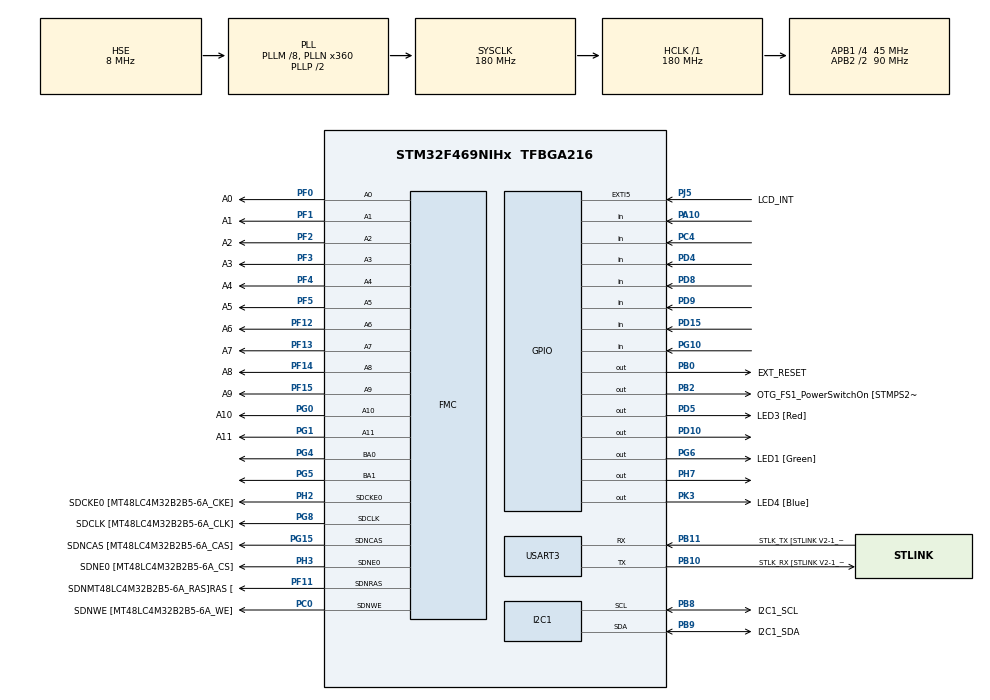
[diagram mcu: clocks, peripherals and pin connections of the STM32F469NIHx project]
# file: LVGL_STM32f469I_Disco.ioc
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DMA2D.ColorMode=DMA2D_OUTPUT_RGB565
DSIHOST.BTA_FlowControl=__NULL
DSIHOST.ClockLaneHS2LPTime=35
DSIHOST.ClockLaneLP2HSTime=35
DSIHOST.DataLaneHS2LPTime=35
DSIHOST.DataLaneLP2HSTime=35
DSIHOST.LPCommandEnable=DSI_LP_COMMAND_ENABLE
DSIHOST.LPHorizontalBackPorchEnable=DSI_LP_HBP_ENABLE
DSIHOST.LPHorizontalFrontPorchEnable=DSI_LP_HFP_ENABLE
DSIHOST.LPLargestPacketSize=16
DSIHOST.LPVerticalActiveEnable=DSI_LP_VACT_ENABLE
DSIHOST.LPVerticalBackPorchEnable=DSI_LP_VBP_ENABLE
DSIHOST.LPVerticalFrontPorchEnable=DSI_LP_VFP_ENABLE
DSIHOST.LPVerticalSyncActiveEnable=DSI_LP_VSYNC_ENABLE
DSIHOST.Mode=DSI_VID_MODE_BURST
DSIHOST.NumberOfLanes=DSI_TWO_DATA_LANES
DSIHOST.PacketSize=800
DSIHOST.StopWaitTime=10
DSIHOST_CKN.GPIO_Label=DSI_CK_N
DSIHOST_CKN.Mode=DSIHost_Video
DSIHOST_CKN.Signal=DSIHOST_CKN
DSIHOST_CKP.GPIO_Label=DSI_CK_P
DSIHOST_CKP.Mode=DSIHost_Video
DSIHOST_CKP.Signal=DSIHOST_CKP
DSIHOST_D0N.GPIO_Label=DSI_D0_N
DSIHOST_D0N.Mode=DSIHost_Video
DSIHOST_D0N.Signal=DSIHOST_D0N
DSIHOST_D0P.GPIO_Label=DSI_D0_P
DSIHOST_D0P.Mode=DSIHost_Video
DSIHOST_D0P.Signal=DSIHOST_D0P
DSIHOST_D1N.GPIO_Label=DSI_D1_N
DSIHOST_D1N.Mode=DSIHost_Video
DSIHOST_D1N.Signal=DSIHOST_D1N
DSIHOST_D1P.GPIO_Label=DSI_D1_P
DSIHOST_D1P.Mode=DSIHost_Video
DSIHOST_D1P.Signal=DSIHOST_D1P
Dma.MEMTOMEM.0.Direction=DMA_MEMORY_TO_MEMORY
Dma.MEMTOMEM.0.FIFOMode=DMA_FIFOMODE_ENABLE
Dma.MEMTOMEM.0.FIFOThreshold=DMA_FIFO_THRESHOLD_FULL
Dma.MEMTOMEM.0.Instance=DMA2_Stream0
Dma.MEMTOMEM.0.MemBurst=DMA_MBURST_SINGLE
Dma.MEMTOMEM.0.MemDataAlignment=DMA_MDATAALIGN_WORD
Dma.MEMTOMEM.0.MemInc=DMA_MINC_ENABLE
Dma.MEMTOMEM.0.Mode=DMA_NORMAL
Dma.MEMTOMEM.0.PeriphBurst=DMA_PBURST_SINGLE
Dma.MEMTOMEM.0.PeriphDataAlignment=DMA_PDATAALIGN_WORD
Dma.MEMTOMEM.0.PeriphInc=DMA_PINC_ENABLE
Dma.MEMTOMEM.0.Priority=DMA_PRIORITY_LOW
Dma.Request0=MEMTOMEM
FMC.CASLatency1=FMC_SDRAM_CAS_LATENCY_3
FMC.ExitSelfRefreshDelay1=7
FMC.LoadToActiveDelay1=2
FMC.RCDDelay1=2
FMC.RPDelay1=2
FMC.ReadBurst1=FMC_SDRAM_RBURST_ENABLE
FMC.RowCycleDelay1=7
FMC.SDClockPeriod1=FMC_SDRAM_CLOCK_PERIOD_2
FMC.SelfRefreshTime1=4
FMC.WriteRecoveryTime1=3
LTDC.ActiveW=800
LTDC.Alpha_L0=255
LTDC.BlendingFactor1_L0=LTDC_BLENDING_FACTOR1_PAxCA
LTDC.BlendingFactor2_L0=LTDC_BLENDING_FACTOR2_PAxCA
LTDC.FBStartAdress_L0=0xC0000000
LTDC.HBP=34
LTDC.HFP=34
LTDC.HSPolarity=LTDC_HSPOLARITY_AH
LTDC.HSync=2
LTDC.ImageHeight_L0=480
LTDC.ImageWidth_L0=800
LTDC.Layers=0
LTDC.PixelFormat_L0=LTDC_PIXEL_FORMAT_RGB565
LTDC.VBP=150
LTDC.VFP=150
LTDC.VSPolarity=LTDC_VSPOLARITY_AH
LTDC.VSync=120
LTDC.WindowX1_L0=800
LTDC.WindowY1_L0=480
Mcu.Family=STM32F4
Mcu.Name=STM32F469NIHx
Mcu.Package=TFBGA216
NVIC.DMA2D_IRQn=true\:0\:0\:false\:false\:true\:true\:true\:true
NVIC.DMA2_Stream0_IRQn=true\:0\:0\:false\:false\:true\:true\:true\:true
NVIC.DSI_IRQn=true\:0\:0\:false\:false\:true\:true\:true\:true
NVIC.LTDC_IRQn=true\:0\:0\:false\:false\:true\:true\:true\:true
NVIC.PriorityGroup=NVIC_PRIORITYGROUP_4
PA0/WKUP.GPIO_Label=WAKEUP [B2]
PA0/WKUP.Mode=SYS_WakeUp0
PA0/WKUP.Signal=SYS_WKUP
PA10.Signal=GPIO_Input
PA13.GPIO_Label=SWDIO
PA13.Mode=Serial_Wire
PA13.Signal=SYS_JTMS-SWDIO
PA14.GPIO_Label=SWCLK
PA14.Mode=Serial_Wire
PA14.Signal=SYS_JTCK-SWCLK
PB0.GPIO_Label=EXT_RESET
PB0.GPIO_ModeDefaultOutputPP=GPIO_MODE_OUTPUT_PP
PB0.GPIO_PuPd=GPIO_NOPULL
PB0.GPIO_Speed=GPIO_SPEED_FREQ_LOW
PB0.Signal=GPIO_Output
PB10.GPIO_Label=STLK_RX [STLINK V2-1_U2_RX]
PB10.GPIO_Mode=GPIO_MODE_AF_PP
PB10.GPIO_PuPd=GPIO_PULLUP
PB10.GPIO_Speed=GPIO_SPEED_FREQ_VERY_HIGH
PB10.Mode=Asynchronous
PB10.Signal=USART3_TX
PB11.GPIO_Label=STLK_TX [STLINK V2-1_U2_TX]
PB11.GPIO_Mode=GPIO_MODE_AF_PP
PB11.GPIO_PuPd=GPIO_PULLUP
PB11.GPIO_Speed=GPIO_SPEED_FREQ_VERY_HIGH
PB11.Mode=Asynchronous
PB11.Signal=USART3_RX
PB2/BOOT1.GPIO_Label=OTG_FS1_PowerSwitchOn [STMPS2151STR_En]
PB2/BOOT1.GPIO_ModeDefaultOutputPP=GPIO_MODE_OUTPUT_PP
PB2/BOOT1.GPIO_PuPd=GPIO_NOPULL
PB2/BOOT1.GPIO_Speed=GPIO_SPEED_FREQ_LOW
PB2/BOOT1.Signal=GPIO_Output
PB8.GPIO_Label=I2C1_SCL
PB8.GPIO_Mode=GPIO_MODE_AF_OD
PB8.GPIO_Pu=GPIO_PULLUP
PB8.GPIO_Speed=GPIO_SPEED_FREQ_VERY_HIGH
PB8.Mode=I2C
PB8.Signal=I2C1_SCL
PB9.GPIO_Label=I2C1_SDA
PB9.GPIO_Mode=GPIO_MODE_AF_OD
PB9.GPIO_Pu=GPIO_PULLUP
PB9.GPIO_Speed=GPIO_SPEED_FREQ_VERY_HIGH
PB9.Mode=I2C
PB9.Signal=I2C1_SDA
PC0.GPIO_Label=SDNWE [MT48LC4M32B2B5-6A_WE]
PC0.GPIO_Mode=GPIO_MODE_AF_PP
PC0.GPIO_PuPd=GPIO_NOPULL
PC0.GPIO_Speed_High_Default=GPIO_SPEED_FREQ_VERY_HIGH
PC0.Signal=FMC_SDNWE
PC14/OSC32_IN.Mode=LSE-External-Oscillator
PC14/OSC32_IN.Signal=RCC_OSC32_IN
PC15/OSC32_OUT.Mode=LSE-External-Oscillator
PC15/OSC32_OUT.Signal=RCC_OSC32_OUT
PC4.Signal=GPIO_Input
PD0.GPIO_Label=D2
PD0.GPIO_Mode=GPIO_MODE_AF_PP
PD0.GPIO_PuPd=GPIO_NOPULL
PD0.GPIO_Speed_High_Default=GPIO_SPEED_FREQ_VERY_HIGH
PD0.Signal=FMC_D2_DA2
PD1.GPIO_Label=D3
PD1.GPIO_Mode=GPIO_MODE_AF_PP
PD1.GPIO_PuPd=GPIO_NOPULL
PD1.GPIO_Speed_High_Default=GPIO_SPEED_FREQ_VERY_HIGH
PD1.Signal=FMC_D3_DA3
PD10.Signal=GPIO_Output
PD14.GPIO_Label=D0
PD14.GPIO_Mode=GPIO_MODE_AF_PP
PD14.GPIO_PuPd=GPIO_NOPULL
PD14.GPIO_Speed_High_Default=GPIO_SPEED_FREQ_VERY_HIGH
PD14.Signal=FMC_D0_DA0
PD15.Signal=GPIO_Input
PD4.Signal=GPIO_Input
PD5.GPIO_Label=LED3 [Red]
PD5.GPIO_ModeDefaultOutputPP=GPIO_MODE_OUTPUT_OD
PD5.GPIO_PuPd=GPIO_NOPULL
PD5.GPIO_Speed=GPIO_SPEED_FREQ_LOW
PD5.Signal=GPIO_Output
PD8.Signal=GPIO_Input
PD9.Signal=GPIO_Input
PE0.GPIO_Label=FMC_NBL0 [ MT48LC4M32B2B5-6A_DQM0]
PE0.GPIO_Mode=GPIO_MODE_AF_PP
PE0.GPIO_PuPd=GPIO_NOPULL
PE0.GPIO_Speed_High_Default=GPIO_SPEED_FREQ_VERY_HIGH
PE0.Signal=FMC_NBL0
PE1.GPIO_Label=FMC_NBL1 [ MT48LC4M32B2B5-6A_DQM1]
PE1.GPIO_Mode=GPIO_MODE_AF_PP
PE1.GPIO_PuPd=GPIO_NOPULL
PE1.GPIO_Speed_High_Default=GPIO_SPEED_FREQ_VERY_HIGH
PE1.Signal=FMC_NBL1
PE10.GPIO_Label=D7
PE10.GPIO_Mode=GPIO_MODE_AF_PP
PE10.GPIO_PuPd=GPIO_NOPULL
PE10.GPIO_Speed_High_Default=GPIO_SPEED_FREQ_VERY_HIGH
PE10.Signal=FMC_D7_DA7
PE11.GPIO_Label=D8
PE11.GPIO_Mode=GPIO_MODE_AF_PP
PE11.GPIO_PuPd=GPIO_NOPULL
PE11.GPIO_Speed_High_Default=GPIO_SPEED_FREQ_VERY_HIGH
PE11.Signal=FMC_D8_DA8
PE12.GPIO_Label=D9
PE12.GPIO_Mode=GPIO_MODE_AF_PP
PE12.GPIO_PuPd=GPIO_NOPULL
PE12.GPIO_Speed_High_Default=GPIO_SPEED_FREQ_VERY_HIGH
PE12.Signal=FMC_D9_DA9
PE13.GPIO_Label=D10
PE13.GPIO_Mode=GPIO_MODE_AF_PP
PE13.GPIO_PuPd=GPIO_NOPULL
PE13.GPIO_Speed_High_Default=GPIO_SPEED_FREQ_VERY_HIGH
PE13.Signal=FMC_D10_DA10
PE14.GPIO_Label=D11
PE14.GPIO_Mode=GPIO_MODE_AF_PP
PE14.GPIO_PuPd=GPIO_NOPULL
PE14.GPIO_Speed_High_Default=GPIO_SPEED_FREQ_VERY_HIGH
PE14.Signal=FMC_D11_DA11
PE15.GPIO_Label=D12
PE15.GPIO_Mode=GPIO_MODE_AF_PP
PE15.GPIO_PuPd=GPIO_NOPULL
PE15.GPIO_Speed_High_Default=GPIO_SPEED_FREQ_VERY_HIGH
PE15.Signal=FMC_D12_DA12
PE7.GPIO_Label=D4
PE7.GPIO_Mode=GPIO_MODE_AF_PP
PE7.GPIO_PuPd=GPIO_NOPULL
PE7.GPIO_Speed_High_Default=GPIO_SPEED_FREQ_VERY_HIGH
PE7.Signal=FMC_D4_DA4
PE8.GPIO_Label=D5
PE8.GPIO_Mode=GPIO_MODE_AF_PP
PE8.GPIO_PuPd=GPIO_NOPULL
PE8.GPIO_Speed_High_Default=GPIO_SPEED_FREQ_VERY_HIGH
PE8.Signal=FMC_D5_DA5
PE9.GPIO_Label=D6
PE9.GPIO_Mode=GPIO_MODE_AF_PP
PE9.GPIO_PuPd=GPIO_NOPULL
PE9.GPIO_Speed_High_Default=GPIO_SPEED_FREQ_VERY_HIGH
PE9.Signal=FMC_D6_DA6
PF0.GPIO_Label=A0
PF0.GPIO_Mode=GPIO_MODE_AF_PP
PF0.GPIO_PuPd=GPIO_NOPULL
PF0.GPIO_Speed_High_Default=GPIO_SPEED_FREQ_VERY_HIGH
PF0.Signal=FMC_A0
PF1.GPIO_Label=A1
PF1.GPIO_Mode=GPIO_MODE_AF_PP
PF1.GPIO_PuPd=GPIO_NOPULL
PF1.GPIO_Speed_High_Default=GPIO_SPEED_FREQ_VERY_HIGH
PF1.Signal=FMC_A1
PF11.GPIO_Label=SDNMT48LC4M32B2B5-6A_RAS]RAS [
PF11.GPIO_Mode=GPIO_MODE_AF_PP
PF11.GPIO_PuPd=GPIO_NOPULL
PF11.GPIO_Speed_High_Default=GPIO_SPEED_FREQ_VERY_HIGH
PF11.Signal=FMC_SDNRAS
PF12.GPIO_Label=A6
PF12.GPIO_Mode=GPIO_MODE_AF_PP
PF12.GPIO_PuPd=GPIO_NOPULL
PF12.GPIO_Speed_High_Default=GPIO_SPEED_FREQ_VERY_HIGH
PF12.Signal=FMC_A6
PF13.GPIO_Label=A7
PF13.GPIO_Mode=GPIO_MODE_AF_PP
PF13.GPIO_PuPd=GPIO_NOPULL
PF13.GPIO_Speed_High_Default=GPIO_SPEED_FREQ_VERY_HIGH
PF13.Signal=FMC_A7
PF14.GPIO_Label=A8
PF14.GPIO_Mode=GPIO_MODE_AF_PP
PF14.GPIO_PuPd=GPIO_NOPULL
PF14.GPIO_Speed_High_Default=GPIO_SPEED_FREQ_VERY_HIGH
PF14.Signal=FMC_A8
PF15.GPIO_Label=A9
PF15.GPIO_Mode=GPIO_MODE_AF_PP
PF15.GPIO_PuPd=GPIO_NOPULL
PF15.GPIO_Speed_High_Default=GPIO_SPEED_FREQ_VERY_HIGH
PF15.Signal=FMC_A9
PF2.GPIO_Label=A2
PF2.GPIO_Mode=GPIO_MODE_AF_PP
PF2.GPIO_PuPd=GPIO_NOPULL
PF2.GPIO_Speed_High_Default=GPIO_SPEED_FREQ_VERY_HIGH
PF2.Signal=FMC_A2
PF3.GPIO_Label=A3
PF3.GPIO_Mode=GPIO_MODE_AF_PP
PF3.GPIO_PuPd=GPIO_NOPULL
PF3.GPIO_Speed_High_Default=GPIO_SPEED_FREQ_VERY_HIGH
PF3.Signal=FMC_A3
PF4.GPIO_Label=A4
PF4.GPIO_Mode=GPIO_MODE_AF_PP
PF4.GPIO_PuPd=GPIO_NOPULL
PF4.GPIO_Speed_High_Default=GPIO_SPEED_FREQ_VERY_HIGH
PF4.Signal=FMC_A4
PF5.GPIO_Label=A5
PF5.GPIO_Mode=GPIO_MODE_AF_PP
PF5.GPIO_PuPd=GPIO_NOPULL
PF5.GPIO_Speed_High_Default=GPIO_SPEED_FREQ_VERY_HIGH
PF5.Signal=FMC_A5
PG0.GPIO_Label=A10
PG0.GPIO_Mode=GPIO_MODE_AF_PP
PG0.GPIO_PuPd=GPIO_NOPULL
PG0.GPIO_Speed_High_Default=GPIO_SPEED_FREQ_VERY_HIGH
PG0.Signal=FMC_A10
PG1.GPIO_Label=A11
PG1.GPIO_Mode=GPIO_MODE_AF_PP
PG1.GPIO_PuPd=GPIO_NOPULL
PG1.GPIO_Speed_High_Default=GPIO_SPEED_FREQ_VERY_HIGH
PG1.Signal=FMC_A11
PG10.Signal=GPIO_Input
PG15.GPIO_Label=SDNCAS [MT48LC4M32B2B5-6A_CAS]
PG15.GPIO_Mode=GPIO_MODE_AF_PP
PG15.GPIO_PuPd=GPIO_NOPULL
PG15.GPIO_Speed_High_Default=GPIO_SPEED_FREQ_VERY_HIGH
PG15.Signal=FMC_SDNCAS
PG4.Signal=FMC_A14_BA0
PG5.Signal=FMC_A15_BA1
PG6.GPIO_Label=LED1 [Green]
PG6.GPIO_ModeDefaultOutputPP=GPIO_MODE_OUTPUT_OD
PG6.GPIO_PuPd=GPIO_NOPULL
PG6.GPIO_Speed=GPIO_SPEED_FREQ_LOW
PG6.Signal=GPIO_Output
PG8.GPIO_Label=SDCLK [MT48LC4M32B2B5-6A_CLK]
PG8.GPIO_Mode=GPIO_MODE_AF_PP
PG8.GPIO_PuPd=GPIO_NOPULL
PG8.GPIO_Speed_High_Default=GPIO_SPEED_FREQ_VERY_HIGH
PG8.Signal=FMC_SDCLK
PH0/OSC_IN.Mode=HSE-External-Oscillator
PH0/OSC_IN.Signal=RCC_OSC_IN
PH1/OSC_OUT.Mode=HSE-External-Oscillator
PH1/OSC_OUT.Signal=RCC_OSC_OUT
PH10.GPIO_Label=D18
PH10.GPIO_Mode=GPIO_MODE_AF_PP
PH10.GPIO_PuPd=GPIO_NOPULL
PH10.GPIO_Speed_High_Default=GPIO_SPEED_FREQ_VERY_HIGH
PH10.Signal=FMC_D18
PH11.GPIO_Label=D19
PH11.GPIO_Mode=GPIO_MODE_AF_PP
PH11.GPIO_PuPd=GPIO_NOPULL
PH11.GPIO_Speed_High_Default=GPIO_SPEED_FREQ_VERY_HIGH
PH11.Signal=FMC_D19
PH12.GPIO_Label=D20
PH12.GPIO_Mode=GPIO_MODE_AF_PP
PH12.GPIO_PuPd=GPIO_NOPULL
PH12.GPIO_Speed_High_Default=GPIO_SPEED_FREQ_VERY_HIGH
PH12.Signal=FMC_D20
PH13.GPIO_Label=D21
PH13.GPIO_Mode=GPIO_MODE_AF_PP
PH13.GPIO_PuPd=GPIO_NOPULL
PH13.GPIO_Speed_High_Default=GPIO_SPEED_FREQ_VERY_HIGH
PH13.Signal=FMC_D21
PH14.GPIO_Label=D22
PH14.GPIO_Mode=GPIO_MODE_AF_PP
PH14.GPIO_PuPd=GPIO_NOPULL
PH14.GPIO_Speed_High_Default=GPIO_SPEED_FREQ_VERY_HIGH
PH14.Signal=FMC_D22
PH15.GPIO_Label=D23
PH15.GPIO_Mode=GPIO_MODE_AF_PP
PH15.GPIO_PuPd=GPIO_NOPULL
PH15.GPIO_Speed_High_Default=GPIO_SPEED_FREQ_VERY_HIGH
PH15.Signal=FMC_D23
PH2.GPIO_Label=SDCKE0 [MT48LC4M32B2B5-6A_CKE]
PH2.GPIO_Mode=GPIO_MODE_AF_PP
PH2.GPIO_PuPd=GPIO_NOPULL
PH2.GPIO_Speed_High_Default=GPIO_SPEED_FREQ_VERY_HIGH
PH2.Mode=SdramChipSelect1_1
PH2.Signal=FMC_SDCKE0
PH3.GPIO_Label=SDNE0 [MT48LC4M32B2B5-6A_CS]
PH3.GPIO_Mode=GPIO_MODE_AF_PP
PH3.GPIO_PuPd=GPIO_NOPULL
PH3.GPIO_Speed_High_Default=GPIO_SPEED_FREQ_VERY_HIGH
PH3.Mode=SdramChipSelect1_1
PH3.Signal=FMC_SDNE0
PH7.Signal=GPIO_Output
PH8.GPIO_Label=D16
PH8.GPIO_Mode=GPIO_MODE_AF_PP
PH8.GPIO_PuPd=GPIO_NOPULL
PH8.GPIO_Speed_High_Default=GPIO_SPEED_FREQ_VERY_HIGH
PH8.Signal=FMC_D16
PH9.GPIO_Label=D17
PH9.GPIO_Mode=GPIO_MODE_AF_PP
PH9.GPIO_PuPd=GPIO_NOPULL
PH9.GPIO_Speed_High_Default=GPIO_SPEED_FREQ_VERY_HIGH
PH9.Signal=FMC_D17
PI0.GPIO_Label=D24
PI0.GPIO_Mode=GPIO_MODE_AF_PP
PI0.GPIO_PuPd=GPIO_NOPULL
PI0.GPIO_Speed_High_Default=GPIO_SPEED_FREQ_VERY_HIGH
PI0.Signal=FMC_D24
PI1.GPIO_Label=D25
PI1.GPIO_Mode=GPIO_MODE_AF_PP
PI1.GPIO_PuPd=GPIO_NOPULL
PI1.GPIO_Speed_High_Default=GPIO_SPEED_FREQ_VERY_HIGH
PI1.Signal=FMC_D25
PI10.GPIO_Label=D31
PI10.GPIO_Mode=GPIO_MODE_AF_PP
PI10.GPIO_PuPd=GPIO_NOPULL
PI10.GPIO_Speed_High_Default=GPIO_SPEED_FREQ_VERY_HIGH
PI10.Signal=FMC_D31
PI2.GPIO_Label=D26
PI2.GPIO_Mode=GPIO_MODE_AF_PP
PI2.GPIO_PuPd=GPIO_NOPULL
PI2.GPIO_Speed_High_Default=GPIO_SPEED_FREQ_VERY_HIGH
PI2.Signal=FMC_D26
PI3.GPIO_Label=D27
PI3.GPIO_Mode=GPIO_MODE_AF_PP
PI3.GPIO_PuPd=GPIO_NOPULL
PI3.GPIO_Speed_High_Default=GPIO_SPEED_FREQ_VERY_HIGH
PI3.Signal=FMC_D27
PI4.GPIO_Label=FMC_NBL2 [MT48LC4M32B2B5-6A_DQM2]
PI4.GPIO_Mode=GPIO_MODE_AF_PP
PI4.GPIO_PuPd=GPIO_NOPULL
PI4.GPIO_Speed_High_Default=GPIO_SPEED_FREQ_VERY_HIGH
PI4.Signal=FMC_NBL2
PI5.GPIO_Label=FMC_NBL3 [MT48LC4M32B2B5-6A_DQM3]
PI5.GPIO_Mode=GPIO_MODE_AF_PP
PI5.GPIO_PuPd=GPIO_NOPULL
PI5.GPIO_Speed_High_Default=GPIO_SPEED_FREQ_VERY_HIGH
PI5.Signal=FMC_NBL3
PI6.GPIO_Label=D28
PI6.GPIO_Mode=GPIO_MODE_AF_PP
PI6.GPIO_PuPd=GPIO_NOPULL
PI6.GPIO_Speed_High_Default=GPIO_SPEED_FREQ_VERY_HIGH
PI6.Signal=FMC_D28
PI7.GPIO_Label=D29
PI7.GPIO_Mode=GPIO_MODE_AF_PP
PI7.GPIO_PuPd=GPIO_NOPULL
PI7.GPIO_Speed_High_Default=GPIO_SPEED_FREQ_VERY_HIGH
PI7.Signal=FMC_D29
PI9.GPIO_Label=D30
PI9.GPIO_Mode=GPIO_MODE_AF_PP
PI9.GPIO_PuPd=GPIO_NOPULL
PI9.GPIO_Speed_High_Default=GPIO_SPEED_FREQ_VERY_HIGH
PI9.Signal=FMC_D30
PJ2.GPIO_Label=DSI_TE
PJ2.GPIO_Mode=GPIO_MODE_AF_PP
PJ2.GPIO_PuPd=GPIO_NOPULL
PJ2.GPIO_Speed=GPIO_SPEED_FREQ_VERY_HIGH
PJ2.Signal=DSIHOST_TE
PJ5.GPIO_Label=LCD_INT
PJ5.GPIO_ModeDefaultEXTI=GPIO_MODE_IT_RISING
PJ5.GPIO_PuPd=GPIO_NOPULL
PJ5.Signal=GPXTI5
PK3.GPIO_Label=LED4 [Blue]
PK3.GPIO_ModeDefaultOutputPP=GPIO_MODE_OUTPUT_OD
PK3.GPIO_PuPd=GPIO_NOPULL
PK3.GPIO_Speed=GPIO_SPEED_FREQ_LOW
PK3.Signal=GPIO_Output
ProjectManager.HeapSize=0x200
ProjectManager.StackSize=0x400
ProjectManager.TargetToolchain=CMake
RCC.AHBFreq_Value=180000000
RCC.APB1CLKDivider=RCC_HCLK_DIV4
RCC.APB1Freq_Value=45000000
RCC.APB1TimFreq_Value=90000000
RCC.APB2CLKDivider=RCC_HCLK_DIV2
RCC.APB2Freq_Value=90000000
RCC.APB2TimFreq_Value=180000000
RCC.CortexFreq_Value=180000000
RCC.HCLKFreq_Value=180000000
RCC.HSE_VALUE=8000000
RCC.PLLDSIIDF=DSI_PLL_IN_DIV2
RCC.PLLDSINDIV=125
RCC.PLLM=8
RCC.PLLN=360
RCC.PLLQ=6
RCC.PLLR=6
RCC.PLLSAIN=384
RCC.PLLSAIP=RCC_PLLSAIP_DIV6
RCC.PLLSAIQ=2
RCC.PLLSAIR=7
RCC.PLLSourceVirtual=RCC_PLLSOURCE_HSE
RCC.SYSCLKFreq_VALUE=180000000
RCC.SYSCLKSource=RCC_SYSCLKSOURCE_PLLCLK
RCC.USBCLockSelection=RCC_CLK48CLKSOURCE_PLLSAIP
RCC.USBFreq_Value=64000000
RCC.VCOOutputFreq_Value=360000000
SH.FMC_A0.0=FMC_A0,12b-sda1
SH.FMC_A1.0=FMC_A1,12b-sda1
SH.FMC_A10.0=FMC_A10,12b-sda1
SH.FMC_A11.0=FMC_A11,12b-sda1
SH.FMC_A14_BA0.0=FMC_BA0,FourSdramBanks1
SH.FMC_A15_BA1.0=FMC_BA1,FourSdramBanks1
SH.FMC_A2.0=FMC_A2,12b-sda1
SH.FMC_A3.0=FMC_A3,12b-sda1
SH.FMC_A4.0=FMC_A4,12b-sda1
SH.FMC_A5.0=FMC_A5,12b-sda1
SH.FMC_A6.0=FMC_A6,12b-sda1
SH.FMC_A7.0=FMC_A7,12b-sda1
SH.FMC_A8.0=FMC_A8,12b-sda1
SH.FMC_A9.0=FMC_A9,12b-sda1
SH.FMC_D0_DA0.0=FMC_D0
SH.FMC_D10_DA10.0=FMC_D10
SH.FMC_D11_DA11.0=FMC_D11
SH.FMC_D12_DA12.0=FMC_D12
SH.FMC_D16.0=FMC_D16
SH.FMC_D17.0=FMC_D17
SH.FMC_D18.0=FMC_D18
SH.FMC_D19.0=FMC_D19
SH.FMC_D20.0=FMC_D20
SH.FMC_D21.0=FMC_D21
SH.FMC_D22.0=FMC_D22
SH.FMC_D23.0=FMC_D23
SH.FMC_D24.0=FMC_D24
SH.FMC_D25.0=FMC_D25
SH.FMC_D26.0=FMC_D26
SH.FMC_D27.0=FMC_D27
SH.FMC_D28.0=FMC_D28
SH.FMC_D29.0=FMC_D29
SH.FMC_D2_DA2.0=FMC_D2
SH.FMC_D30.0=FMC_D30
SH.FMC_D31.0=FMC_D31
SH.FMC_D3_DA3.0=FMC_D3
SH.FMC_D4_DA4.0=FMC_D4
SH.FMC_D5_DA5.0=FMC_D5
SH.FMC_D6_DA6.0=FMC_D6
SH.FMC_D7_DA7.0=FMC_D7
SH.FMC_D8_DA8.0=FMC_D8
SH.FMC_D9_DA9.0=FMC_D9
SH.FMC_NBL0.0=FMC_NBL0
SH.FMC_NBL1.0=FMC_NBL1
SH.FMC_NBL2.0=FMC_NBL2
SH.FMC_NBL3.0=FMC_NBL3
SH.FMC_SDCLK.0=FMC_SDCLK,12b-sda1
SH.FMC_SDNCAS.0=FMC_SDNCAS,12b-sda1
SH.FMC_SDNRAS.0=FMC_SDNRAS,12b-sda1
SH.FMC_SDNWE.0=FMC_SDNWE,12b-sda1
USART3.VirtualMode=VM_ASYNC
VP_DMA2D_VS_DMA2D.Mode=DMA2D_Activate
VP_LTDC_DSIMode.Mode=RGB888
board=STM32F469I-DISCO

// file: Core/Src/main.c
/* USER CODE BEGIN Header */
/**
  ******************************************************************************
  * @file           : main.c
  * @brief          : Main program body
  ******************************************************************************
  * @attention
  *
  * Copyright (c) 2025 STMicroelectronics.
  * All rights reserved.
  *
  * This software is licensed under terms that can be found in the LICENSE file
  * in the root directory of this software component.
  * If no LICENSE file comes with this software, it is provided AS-IS.
  *
  ******************************************************************************
  */
/* USER CODE END Header */
#include "main.h"

/* USER CODE BEGIN Includes */
#include <stdlib.h>
#include <stdio.h>
#include <lvgl.h>
#include "./demos/lv_demos.h"
#include <screen_driver.h>
#include <touch_sensor_driver.h>
//#include <etl/include/etl/debounce.h>
//#include "../../Drivers/etl/include/etl/debounce.h"
//#include <etl/debounce.h>

/* USER CODE END Includes */

/* USER CODE BEGIN PD */
#define USE_FULL_ASSERT
/**
  * @brief  FMC SDRAM Mode definition register defines
  *
  * @brief  defines copied from the STM32F469I-Disco Board support package
  */
#define SDRAM_MODEREG_BURST_LENGTH_1             ((uint16_t)0x0000)
#define SDRAM_MODEREG_BURST_LENGTH_2             ((uint16_t)0x0001)
#define SDRAM_MODEREG_BURST_LENGTH_4             ((uint16_t)0x0002)
#define SDRAM_MODEREG_BURST_LENGTH_8             ((uint16_t)0x0004)
#define SDRAM_MODEREG_BURST_TYPE_SEQUENTIAL      ((uint16_t)0x0000)
#define SDRAM_MODEREG_BURST_TYPE_INTERLEAVED     ((uint16_t)0x0008)
#define SDRAM_MODEREG_CAS_LATENCY_2              ((uint16_t)0x0020)
#define SDRAM_MODEREG_CAS_LATENCY_3              ((uint16_t)0x0030)
#define SDRAM_MODEREG_OPERATING_MODE_STANDARD    ((uint16_t)0x0000)
#define SDRAM_MODEREG_WRITEBURST_MODE_PROGRAMMED ((uint16_t)0x0000)
#define SDRAM_MODEREG_WRITEBURST_MODE_SINGLE     ((uint16_t)0x0200)

/**
  * @brief  SDRAM refresh counter (90 MHz SD clock)
  *
  * @brief  defines copied from the STM32F469I-Disco Board support package
  */
#define REFRESH_COUNT       ((uint32_t)0x0569)
#define SDRAM_TIMEOUT       ((uint32_t)0xFFFF)

/* USER CODE END PD */

DMA2D_HandleTypeDef hdma2d;

DSI_HandleTypeDef hdsi;

I2C_HandleTypeDef hi2c1;

LTDC_HandleTypeDef hltdc;

UART_HandleTypeDef huart3;

DMA_HandleTypeDef hdma_memtomem_dma2_stream0;
SDRAM_HandleTypeDef hsdram1;

void SystemClock_Config(void);
static void MX_GPIO_Init(void);
static void MX_DMA_Init(void);
static void MX_DMA2D_Init(void);
static void MX_DSIHOST_DSI_Init(void);
static void MX_FMC_Init(void);
static void MX_I2C1_Init(void);
static void MX_LTDC_Init(void);
static void MX_USART3_UART_Init(void);

int main(void)
{

  /* MCU Configuration--------------------------------------------------------*/

  /* Reset of all peripherals, Initializes the Flash interface and the Systick. */
  HAL_Init();

  /* Configure the system clock */
  SystemClock_Config();

  /* Initialize all configured peripherals */
  MX_GPIO_Init();
  MX_DMA_Init();
  MX_DMA2D_Init();
  MX_DSIHOST_DSI_Init();
  MX_FMC_Init();
  MX_I2C1_Init();
  MX_LTDC_Init();
  MX_USART3_UART_Init();
  /* USER CODE BEGIN 2 */

  lv_init();

  screen_driver_init();
  touch_sensor_driver_init();

  //lv_demo_benchmark();
  lv_obj_t * label1 = lv_label_create(lv_scr_act());

  //HAL_GPIO_WritePin(GPIOD, GPIO_PIN_10, GPIO_PIN_SET);
  /* USER CODE END 2 */

  /* Infinite loop */
  /* USER CODE BEGIN WHILE */
  char text[2] = {'?', '\0'};
  lv_label_set_text(label1, text);
  lv_obj_center(label1);

  while (1)
  {
	  text[0] = (char) ((int) HAL_GPIO_ReadPin(GPIOC, GPIO_PIN_3) + 48);
	  lv_label_set_text(label1, text);

	  HAL_Delay(5);
	  lv_timer_handler();

	  //char* text[1];

	  //char x = (char) ((int) HAL_GPIO_ReadPin(GPIOD, GPIO_PIN_8) + 48);
	  //text[0] = (char) (x + 48);

    /* USER CODE END WHILE */

  }
}

void SystemClock_Config(void)
{
  RCC_OscInitTypeDef RCC_OscInitStruct = {0};
  RCC_ClkInitTypeDef RCC_ClkInitStruct = {0};

  /** Configure the main internal regulator output voltage
  */
  __HAL_RCC_PWR_CLK_ENABLE();
  __HAL_PWR_VOLTAGESCALING_CONFIG(PWR_REGULATOR_VOLTAGE_SCALE1);

  /** Initializes the RCC Oscillators according to the specified parameters
  * in the RCC_OscInitTypeDef structure.
  */
  RCC_OscInitStruct.OscillatorType = RCC_OSCILLATORTYPE_HSE;
  RCC_OscInitStruct.HSEState = RCC_HSE_ON;
  RCC_OscInitStruct.PLL.PLLState = RCC_PLL_ON;
  RCC_OscInitStruct.PLL.PLLSource = RCC_PLLSOURCE_HSE;
  RCC_OscInitStruct.PLL.PLLM = 8;
  RCC_OscInitStruct.PLL.PLLN = 360;
  RCC_OscInitStruct.PLL.PLLP = RCC_PLLP_DIV2;
  RCC_OscInitStruct.PLL.PLLQ = 6;
  RCC_OscInitStruct.PLL.PLLR = 6;
  if (HAL_RCC_OscConfig(&RCC_OscInitStruct) != HAL_OK)
  {
    Error_Handler();
  }

  /** Activate the Over-Drive mode
  */
  if (HAL_PWREx_EnableOverDrive() != HAL_OK)
  {
    Error_Handler();
  }

  /** Initializes the CPU, AHB and APB buses clocks
  */
  RCC_ClkInitStruct.ClockType = RCC_CLOCKTYPE_HCLK|RCC_CLOCKTYPE_SYSCLK
                              |RCC_CLOCKTYPE_PCLK1|RCC_CLOCKTYPE_PCLK2;
  RCC_ClkInitStruct.SYSCLKSource = RCC_SYSCLKSOURCE_PLLCLK;
  RCC_ClkInitStruct.AHBCLKDivider = RCC_SYSCLK_DIV1;
  RCC_ClkInitStruct.APB1CLKDivider = RCC_HCLK_DIV4;
  RCC_ClkInitStruct.APB2CLKDivider = RCC_HCLK_DIV2;

  if (HAL_RCC_ClockConfig(&RCC_ClkInitStruct, FLASH_LATENCY_5) != HAL_OK)
  {
    Error_Handler();
  }
}

static void MX_DMA2D_Init(void)
{

  hdma2d.Instance = DMA2D;
  hdma2d.Init.Mode = DMA2D_M2M;
  hdma2d.Init.ColorMode = DMA2D_OUTPUT_RGB565;
  hdma2d.Init.OutputOffset = 0;
  hdma2d.LayerCfg[1].InputOffset = 0;
  hdma2d.LayerCfg[1].InputColorMode = DMA2D_INPUT_RGB565;
  hdma2d.LayerCfg[1].AlphaMode = DMA2D_NO_MODIF_ALPHA;
  hdma2d.LayerCfg[1].InputAlpha = 0;
  if (HAL_DMA2D_Init(&hdma2d) != HAL_OK)
  {
    Error_Handler();
  }
  if (HAL_DMA2D_ConfigLayer(&hdma2d, 1) != HAL_OK)
  {
    Error_Handler();
  }

}

static void MX_DSIHOST_DSI_Init(void)
{

  DSI_PLLInitTypeDef PLLInit = {0};
  DSI_HOST_TimeoutTypeDef HostTimeouts = {0};
  DSI_PHY_TimerTypeDef PhyTimings = {0};
  DSI_VidCfgTypeDef VidCfg = {0};

  hdsi.Instance = DSI;
  hdsi.Init.AutomaticClockLaneControl = DSI_AUTO_CLK_LANE_CTRL_DISABLE;
  hdsi.Init.TXEscapeCkdiv = 4;
  hdsi.Init.NumberOfLanes = DSI_TWO_DATA_LANES;
  PLLInit.PLLNDIV = 125;
  PLLInit.PLLIDF = DSI_PLL_IN_DIV2;
  PLLInit.PLLODF = DSI_PLL_OUT_DIV1;
  if (HAL_DSI_Init(&hdsi, &PLLInit) != HAL_OK)
  {
    Error_Handler();
  }
  HostTimeouts.TimeoutCkdiv = 1;
  HostTimeouts.HighSpeedTransmissionTimeout = 0;
  HostTimeouts.LowPowerReceptionTimeout = 0;
  HostTimeouts.HighSpeedReadTimeout = 0;
  HostTimeouts.LowPowerReadTimeout = 0;
  HostTimeouts.HighSpeedWriteTimeout = 0;
  HostTimeouts.HighSpeedWritePrespMode = DSI_HS_PM_DISABLE;
  HostTimeouts.LowPowerWriteTimeout = 0;
  HostTimeouts.BTATimeout = 0;
  if (HAL_DSI_ConfigHostTimeouts(&hdsi, &HostTimeouts) != HAL_OK)
  {
    Error_Handler();
  }
  PhyTimings.ClockLaneHS2LPTime = 35;
  PhyTimings.ClockLaneLP2HSTime = 35;
  PhyTimings.DataLaneHS2LPTime = 35;
  PhyTimings.DataLaneLP2HSTime = 35;
  PhyTimings.DataLaneMaxReadTime = 0;
  PhyTimings.StopWaitTime = 10;
  if (HAL_DSI_ConfigPhyTimer(&hdsi, &PhyTimings) != HAL_OK)
  {
    Error_Handler();
  }
  if (HAL_DSI_SetLowPowerRXFilter(&hdsi, 10000) != HAL_OK)
  {
    Error_Handler();
  }
  if (HAL_DSI_ConfigErrorMonitor(&hdsi, HAL_DSI_ERROR_NONE) != HAL_OK)
  {
    Error_Handler();
  }
  VidCfg.VirtualChannelID = 0;
  VidCfg.ColorCoding = DSI_RGB888;
  VidCfg.LooselyPacked = DSI_LOOSELY_PACKED_DISABLE;
  VidCfg.Mode = DSI_VID_MODE_BURST;
  VidCfg.PacketSize = 800;
  VidCfg.NumberOfChunks = 0;
  VidCfg.NullPacketSize = 0;
  VidCfg.HSPolarity = DSI_HSYNC_ACTIVE_HIGH;
  VidCfg.VSPolarity = DSI_VSYNC_ACTIVE_HIGH;
  VidCfg.DEPolarity = DSI_DATA_ENABLE_ACTIVE_HIGH;
  VidCfg.HorizontalSyncActive = 5;
  VidCfg.HorizontalBackPorch = 77;
  VidCfg.HorizontalLine = 1982;
  VidCfg.VerticalSyncActive = 120;
  VidCfg.VerticalBackPorch = 150;
  VidCfg.VerticalFrontPorch = 150;
  VidCfg.VerticalActive = 480;
  VidCfg.LPCommandEnable = DSI_LP_COMMAND_ENABLE;
  VidCfg.LPLargestPacketSize = 16;
  VidCfg.LPVACTLargestPacketSize = 0;
  VidCfg.LPHorizontalFrontPorchEnable = DSI_LP_HFP_ENABLE;
  VidCfg.LPHorizontalBackPorchEnable = DSI_LP_HBP_ENABLE;
  VidCfg.LPVerticalActiveEnable = DSI_LP_VACT_ENABLE;
  VidCfg.LPVerticalFrontPorchEnable = DSI_LP_VFP_ENABLE;
  VidCfg.LPVerticalBackPorchEnable = DSI_LP_VBP_ENABLE;
  VidCfg.LPVerticalSyncActiveEnable = DSI_LP_VSYNC_ENABLE;
  VidCfg.FrameBTAAcknowledgeEnable = DSI_FBTAA_DISABLE;
  if (HAL_DSI_ConfigVideoMode(&hdsi, &VidCfg) != HAL_OK)
  {
    Error_Handler();
  }
  if (HAL_DSI_SetGenericVCID(&hdsi, 0) != HAL_OK)
  {
    Error_Handler();
  }

}

static void MX_I2C1_Init(void)
{

  hi2c1.Instance = I2C1;
  hi2c1.Init.ClockSpeed = 100000;
  hi2c1.Init.DutyCycle = I2C_DUTYCYCLE_2;
  hi2c1.Init.OwnAddress1 = 0;
  hi2c1.Init.AddressingMode = I2C_ADDRESSINGMODE_7BIT;
  hi2c1.Init.DualAddressMode = I2C_DUALADDRESS_DISABLE;
  hi2c1.Init.OwnAddress2 = 0;
  hi2c1.Init.GeneralCallMode = I2C_GENERALCALL_DISABLE;
  hi2c1.Init.NoStretchMode = I2C_NOSTRETCH_DISABLE;
  if (HAL_I2C_Init(&hi2c1) != HAL_OK)
  {
    Error_Handler();
  }

}

static void MX_LTDC_Init(void)
{

  LTDC_LayerCfgTypeDef pLayerCfg = {0};

  hltdc.Instance = LTDC;
  hltdc.Init.HSPolarity = LTDC_HSPOLARITY_AH;
  hltdc.Init.VSPolarity = LTDC_VSPOLARITY_AH;
  hltdc.Init.DEPolarity = LTDC_DEPOLARITY_AL;
  hltdc.Init.PCPolarity = LTDC_PCPOLARITY_IPC;
  hltdc.Init.HorizontalSync = 1;
  hltdc.Init.VerticalSync = 119;
  hltdc.Init.AccumulatedHBP = 35;
  hltdc.Init.AccumulatedVBP = 269;
  hltdc.Init.AccumulatedActiveW = 835;
  hltdc.Init.AccumulatedActiveH = 749;
  hltdc.Init.TotalWidth = 869;
  hltdc.Init.TotalHeigh = 899;
  hltdc.Init.Backcolor.Blue = 0;
  hltdc.Init.Backcolor.Green = 0;
  hltdc.Init.Backcolor.Red = 0;
  if (HAL_LTDC_Init(&hltdc) != HAL_OK)
  {
    Error_Handler();
  }
  pLayerCfg.WindowX0 = 0;
  pLayerCfg.WindowX1 = 800;
  pLayerCfg.WindowY0 = 0;
  pLayerCfg.WindowY1 = 480;
  pLayerCfg.PixelFormat = LTDC_PIXEL_FORMAT_RGB565;
  pLayerCfg.Alpha = 255;
  pLayerCfg.Alpha0 = 0;
  pLayerCfg.BlendingFactor1 = LTDC_BLENDING_FACTOR1_PAxCA;
  pLayerCfg.BlendingFactor2 = LTDC_BLENDING_FACTOR2_PAxCA;
  pLayerCfg.FBStartAdress = 0xC0000000;
  pLayerCfg.ImageWidth = 800;
  pLayerCfg.ImageHeight = 480;
  pLayerCfg.Backcolor.Blue = 0;
  pLayerCfg.Backcolor.Green = 0;
  pLayerCfg.Backcolor.Red = 0;
  if (HAL_LTDC_ConfigLayer(&hltdc, &pLayerCfg, 0) != HAL_OK)
  {
    Error_Handler();
  }

}

static void MX_USART3_UART_Init(void)
{

  huart3.Instance = USART3;
  huart3.Init.BaudRate = 115200;
  huart3.Init.WordLength = UART_WORDLENGTH_8B;
  huart3.Init.StopBits = UART_STOPBITS_1;
  huart3.Init.Parity = UART_PARITY_NONE;
  huart3.Init.Mode = UART_MODE_TX_RX;
  huart3.Init.HwFlowCtl = UART_HWCONTROL_NONE;
  huart3.Init.OverSampling = UART_OVERSAMPLING_16;
  if (HAL_UART_Init(&huart3) != HAL_OK)
  {
    Error_Handler();
  }

}

static void MX_DMA_Init(void)
{

  /* DMA controller clock enable */
  __HAL_RCC_DMA2_CLK_ENABLE();

  /* Configure DMA request hdma_memtomem_dma2_stream0 on DMA2_Stream0 */
  hdma_memtomem_dma2_stream0.Instance = DMA2_Stream0;
  hdma_memtomem_dma2_stream0.Init.Channel = DMA_CHANNEL_0;
  hdma_memtomem_dma2_stream0.Init.Direction = DMA_MEMORY_TO_MEMORY;
  hdma_memtomem_dma2_stream0.Init.PeriphInc = DMA_PINC_ENABLE;
  hdma_memtomem_dma2_stream0.Init.MemInc = DMA_MINC_ENABLE;
  hdma_memtomem_dma2_stream0.Init.PeriphDataAlignment = DMA_PDATAALIGN_WORD;
  hdma_memtomem_dma2_stream0.Init.MemDataAlignment = DMA_MDATAALIGN_WORD;
  hdma_memtomem_dma2_stream0.Init.Mode = DMA_NORMAL;
  hdma_memtomem_dma2_stream0.Init.Priority = DMA_PRIORITY_LOW;
  hdma_memtomem_dma2_stream0.Init.FIFOMode = DMA_FIFOMODE_ENABLE;
  hdma_memtomem_dma2_stream0.Init.FIFOThreshold = DMA_FIFO_THRESHOLD_FULL;
  hdma_memtomem_dma2_stream0.Init.MemBurst = DMA_MBURST_SINGLE;
  hdma_memtomem_dma2_stream0.Init.PeriphBurst = DMA_PBURST_SINGLE;
  if (HAL_DMA_Init(&hdma_memtomem_dma2_stream0) != HAL_OK)
  {
    Error_Handler( );
  }

  /* DMA interrupt init */
  /* DMA2_Stream0_IRQn interrupt configuration */
  HAL_NVIC_SetPriority(DMA2_Stream0_IRQn, 0, 0);
  HAL_NVIC_EnableIRQ(DMA2_Stream0_IRQn);

}

/* FMC initialization function */
static void MX_FMC_Init(void)
{

  /* USER CODE BEGIN FMC_Init 0 */
  static FMC_SDRAM_CommandTypeDef Command;
  /* USER CODE END FMC_Init 0 */

  FMC_SDRAM_TimingTypeDef SdramTiming = {0};

  /** Perform the SDRAM1 memory initialization sequence
  */
  hsdram1.Instance = FMC_SDRAM_DEVICE;
  /* hsdram1.Init */
  hsdram1.Init.SDBank = FMC_SDRAM_BANK1;
  hsdram1.Init.ColumnBitsNumber = FMC_SDRAM_COLUMN_BITS_NUM_8;
  hsdram1.Init.RowBitsNumber = FMC_SDRAM_ROW_BITS_NUM_12;
  hsdram1.Init.MemoryDataWidth = FMC_SDRAM_MEM_BUS_WIDTH_16;
  hsdram1.Init.InternalBankNumber = FMC_SDRAM_INTERN_BANKS_NUM_4;
  hsdram1.Init.CASLatency = FMC_SDRAM_CAS_LATENCY_3;
  hsdram1.Init.WriteProtection = FMC_SDRAM_WRITE_PROTECTION_DISABLE;
  hsdram1.Init.SDClockPeriod = FMC_SDRAM_CLOCK_PERIOD_2;
  hsdram1.Init.ReadBurst = FMC_SDRAM_RBURST_ENABLE;
  hsdram1.Init.ReadPipeDelay = FMC_SDRAM_RPIPE_DELAY_0;
  /* SdramTiming */
  SdramTiming.LoadToActiveDelay = 2;
  SdramTiming.ExitSelfRefreshDelay = 7;
  SdramTiming.SelfRefreshTime = 4;
  SdramTiming.RowCycleDelay = 7;
  SdramTiming.WriteRecoveryTime = 3;
  SdramTiming.RPDelay = 2;
  SdramTiming.RCDDelay = 2;

  if (HAL_SDRAM_Init(&hsdram1, &SdramTiming) != HAL_OK)
  {
    Error_Handler( );
  }

  /* USER CODE BEGIN FMC_Init 2 */

    /*
     * The following code is copied from the STM32F469I-Disco Board Support Package
     */
    __IO uint32_t tmpmrd = 0;

    /* Step 1: Configure a clock configuration enable command */
    Command.CommandMode            = FMC_SDRAM_CMD_CLK_ENABLE;
    Command.CommandTarget          = FMC_SDRAM_CMD_TARGET_BANK1;
    Command.AutoRefreshNumber      = 1;
    Command.ModeRegisterDefinition = 0;

    /* Send the command */
    HAL_SDRAM_SendCommand(&hsdram1, &Command, SDRAM_TIMEOUT);

    /* Step 2: Insert 100 us minimum delay */
    /* Inserted delay is equal to 1 ms due to systick time base unit (ms) */
    HAL_Delay(1);

    /* Step 3: Configure a PALL (precharge all) command */
    Command.CommandMode            = FMC_SDRAM_CMD_PALL;
    Command.CommandTarget          = FMC_SDRAM_CMD_TARGET_BANK1;
    Command.AutoRefreshNumber      = 1;
    Command.ModeRegisterDefinition = 0;

    /* Send the command */
    HAL_SDRAM_SendCommand(&hsdram1, &Command, SDRAM_TIMEOUT);

    /* Step 4: Configure an Auto Refresh command */
    Command.CommandMode            = FMC_SDRAM_CMD_AUTOREFRESH_MODE;
    Command.CommandTarget          = FMC_SDRAM_CMD_TARGET_BANK1;
    Command.AutoRefreshNumber      = 8;
    Command.ModeRegisterDefinition = 0;

    /* Send the command */
    HAL_SDRAM_SendCommand(&hsdram1, &Command, SDRAM_TIMEOUT);

    /* Step 5: Program the external memory mode register */
    tmpmrd = (uint32_t)SDRAM_MODEREG_BURST_LENGTH_1          |\
                       SDRAM_MODEREG_BURST_TYPE_SEQUENTIAL   |\
                       SDRAM_MODEREG_CAS_LATENCY_3           |\
                       SDRAM_MODEREG_OPERATING_MODE_STANDARD |\
                       SDRAM_MODEREG_WRITEBURST_MODE_SINGLE;

    Command.CommandMode            = FMC_SDRAM_CMD_LOAD_MODE;
    Command.CommandTarget          = FMC_SDRAM_CMD_TARGET_BANK1;
    Command.AutoRefreshNumber      = 1;
    Command.ModeRegisterDefinition = tmpmrd;

    /* Send the command */
    HAL_SDRAM_SendCommand(&hsdram1, &Command, SDRAM_TIMEOUT);

    /* Step 6: Set the refresh rate counter */
    /* Set the device refresh rate */
    HAL_SDRAM_ProgramRefreshRate(&hsdram1, REFRESH_COUNT);

  /* USER CODE END FMC_Init 2 */
}

static void MX_GPIO_Init(void)
{
  GPIO_InitTypeDef GPIO_InitStruct = {0};

  /* GPIO Ports Clock Enable */
  __HAL_RCC_GPIOE_CLK_ENABLE();
  __HAL_RCC_GPIOB_CLK_ENABLE();
  __HAL_RCC_GPIOA_CLK_ENABLE();
  __HAL_RCC_GPIOG_CLK_ENABLE();
  __HAL_RCC_GPIOD_CLK_ENABLE();
  __HAL_RCC_GPIOI_CLK_ENABLE();
  __HAL_RCC_GPIOF_CLK_ENABLE();
  __HAL_RCC_GPIOK_CLK_ENABLE();
  __HAL_RCC_GPIOH_CLK_ENABLE();
  __HAL_RCC_GPIOC_CLK_ENABLE();
  __HAL_RCC_GPIOJ_CLK_ENABLE();

  /*Configure GPIO pin Output Level */
  HAL_GPIO_WritePin(GPIOD, LED3_Pin|GPIO_PIN_10, GPIO_PIN_RESET);

  /*Configure GPIO pin Output Level */
  HAL_GPIO_WritePin(LED4_GPIO_Port, LED4_Pin, GPIO_PIN_RESET);

  /*Configure GPIO pin Output Level */
  HAL_GPIO_WritePin(LED1_GPIO_Port, LED1_Pin, GPIO_PIN_RESET);

  /*Configure GPIO pin Output Level */
  HAL_GPIO_WritePin(GPIOB, OTG_FS1_PowerSwitchOn_Pin|EXT_RESET_Pin, GPIO_PIN_RESET);

  /*Configure GPIO pin Output Level */
  HAL_GPIO_WritePin(GPIOH, GPIO_PIN_7, GPIO_PIN_RESET);

  /*Configure GPIO pin : PG10 */
  GPIO_InitStruct.Pin = GPIO_PIN_10;
  GPIO_InitStruct.Mode = GPIO_MODE_INPUT;
  GPIO_InitStruct.Pull = GPIO_NOPULL;
  HAL_GPIO_Init(GPIOG, &GPIO_InitStruct);

  /*Configure GPIO pin : LED3_Pin */
  GPIO_InitStruct.Pin = LED3_Pin;
  GPIO_InitStruct.Mode = GPIO_MODE_OUTPUT_OD;
  GPIO_InitStruct.Pull = GPIO_NOPULL;
  GPIO_InitStruct.Speed = GPIO_SPEED_FREQ_LOW;
  HAL_GPIO_Init(LED3_GPIO_Port, &GPIO_InitStruct);

  /*Configure GPIO pin : LED4_Pin */
  GPIO_InitStruct.Pin = LED4_Pin;
  GPIO_InitStruct.Mode = GPIO_MODE_OUTPUT_OD;
  GPIO_InitStruct.Pull = GPIO_NOPULL;
  GPIO_InitStruct.Speed = GPIO_SPEED_FREQ_LOW;
  HAL_GPIO_Init(LED4_GPIO_Port, &GPIO_InitStruct);

  /*Configure GPIO pins : PD4 PD15 PD9 PD8 */
  GPIO_InitStruct.Pin = GPIO_PIN_4|GPIO_PIN_15|GPIO_PIN_9|GPIO_PIN_8;
  GPIO_InitStruct.Mode = GPIO_MODE_INPUT;
  GPIO_InitStruct.Pull = GPIO_NOPULL;
  HAL_GPIO_Init(GPIOD, &GPIO_InitStruct);

  /*Configure GPIO pin : PA10 */
  GPIO_InitStruct.Pin = GPIO_PIN_10;
  GPIO_InitStruct.Mode = GPIO_MODE_INPUT;
  GPIO_InitStruct.Pull = GPIO_NOPULL;
  HAL_GPIO_Init(GPIOA, &GPIO_InitStruct);

  /*Configure GPIO pin : LED1_Pin */
  GPIO_InitStruct.Pin = LED1_Pin;
  GPIO_InitStruct.Mode = GPIO_MODE_OUTPUT_OD;
  GPIO_InitStruct.Pull = GPIO_NOPULL;
  GPIO_InitStruct.Speed = GPIO_SPEED_FREQ_LOW;
  HAL_GPIO_Init(LED1_GPIO_Port, &GPIO_InitStruct);

  /*Configure GPIO pin : PD10 */
  GPIO_InitStruct.Pin = GPIO_PIN_10;
  GPIO_InitStruct.Mode = GPIO_MODE_OUTPUT_PP;
  GPIO_InitStruct.Pull = GPIO_NOPULL;
  GPIO_InitStruct.Speed = GPIO_SPEED_FREQ_LOW;
  HAL_GPIO_Init(GPIOD, &GPIO_InitStruct);

  /*Configure GPIO pins : OTG_FS1_PowerSwitchOn_Pin EXT_RESET_Pin */
  GPIO_InitStruct.Pin = OTG_FS1_PowerSwitchOn_Pin|EXT_RESET_Pin;
  GPIO_InitStruct.Mode = GPIO_MODE_OUTPUT_PP;
  GPIO_InitStruct.Pull = GPIO_NOPULL;
  GPIO_InitStruct.Speed = GPIO_SPEED_FREQ_LOW;
  HAL_GPIO_Init(GPIOB, &GPIO_InitStruct);

  /*Configure GPIO pin : LCD_INT_Pin */
  GPIO_InitStruct.Pin = LCD_INT_Pin;
  GPIO_InitStruct.Mode = GPIO_MODE_IT_RISING;
  GPIO_InitStruct.Pull = GPIO_NOPULL;
  HAL_GPIO_Init(LCD_INT_GPIO_Port, &GPIO_InitStruct);

  /*Configure GPIO pin : PC4 */
  GPIO_InitStruct.Pin = GPIO_PIN_4;
  GPIO_InitStruct.Mode = GPIO_MODE_INPUT;
  GPIO_InitStruct.Pull = GPIO_NOPULL;
  HAL_GPIO_Init(GPIOC, &GPIO_InitStruct);

  /*Configure GPIO pin : PH7 */
  GPIO_InitStruct.Pin = GPIO_PIN_7;
  GPIO_InitStruct.Mode = GPIO_MODE_OUTPUT_PP;
  GPIO_InitStruct.Pull = GPIO_NOPULL;
  GPIO_InitStruct.Speed = GPIO_SPEED_FREQ_LOW;
  HAL_GPIO_Init(GPIOH, &GPIO_InitStruct);

}

/* USER CODE BEGIN 4 */

int _write(int file, char *ptr, int len)
{
  HAL_UART_Transmit(&huart3, (const uint8_t *)ptr, len, 100);
  return len;
}

/* USER CODE END 4 */

void Error_Handler(void)
{
  __disable_irq();
  while (1)
  {
  }
}
